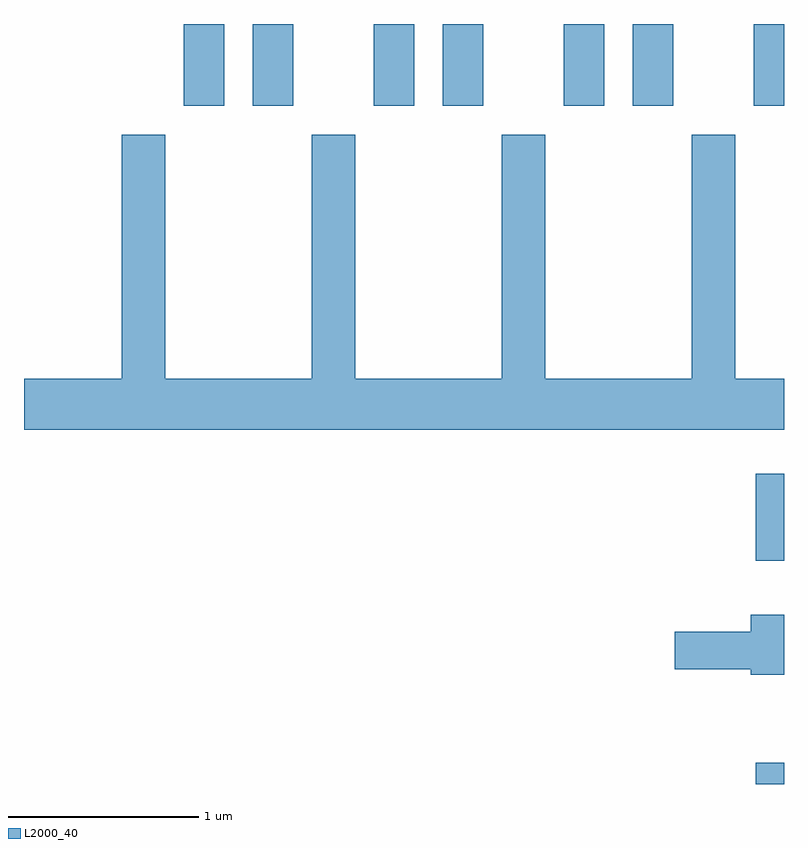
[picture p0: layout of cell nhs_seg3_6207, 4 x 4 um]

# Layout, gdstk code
import gdstk
lib = gdstk.Library(unit=1e-6, precision=1e-09)
def R(c, l, rs):  # rectangles x0, y0, x1, y1
    for r in rs: c.add(gdstk.rectangle(r[:2], r[2:], *l))
def P(c, l, *ps):  # polygons
    for p in ps: c.add(gdstk.Polygon(p, *l))
L2000_40 = (2000, 40)

nhs_seg3_6207 = lib.new_cell('nhs_seg3_6207')
R(nhs_seg3_6207, L2000_40, [(371.461,1161.892,371.611,1162.004), (371.461,1163.066,371.611,1163.524), (368.451,1165.461,368.664,1165.892), (368.816,1165.461,369.029,1165.892), (369.451,1165.461,369.664,1165.892), (369.816,1165.461,370.029,1165.892), (370.451,1165.461,370.664,1165.892), (370.816,1165.461,371.029,1165.892), (371.451,1165.461,371.611,1165.892)])
P(nhs_seg3_6207, L2000_40, [(371.611,1164.024),(371.354,1164.024),(371.354,1165.309),(371.126,1165.309),(371.126,1164.024),(370.354,1164.024),(370.354,1165.309),(370.126,1165.309),(370.126,1164.024),(369.354,1164.024),(369.354,1165.309),(369.126,1165.309),(369.126,1164.024),(368.354,1164.024),(368.354,1165.309),(368.126,1165.309),(368.126,1164.024),(367.611,1164.024),(367.611,1163.756),(371.611,1163.756)],
  [(371.611,1162.784),(371.436,1162.784),(371.436,1162.694),(371.036,1162.694),(371.036,1162.496),(371.436,1162.496),(371.436,1162.466),(371.611,1162.466)])

lib.write_gds('nhs_seg3_6207.gds')
